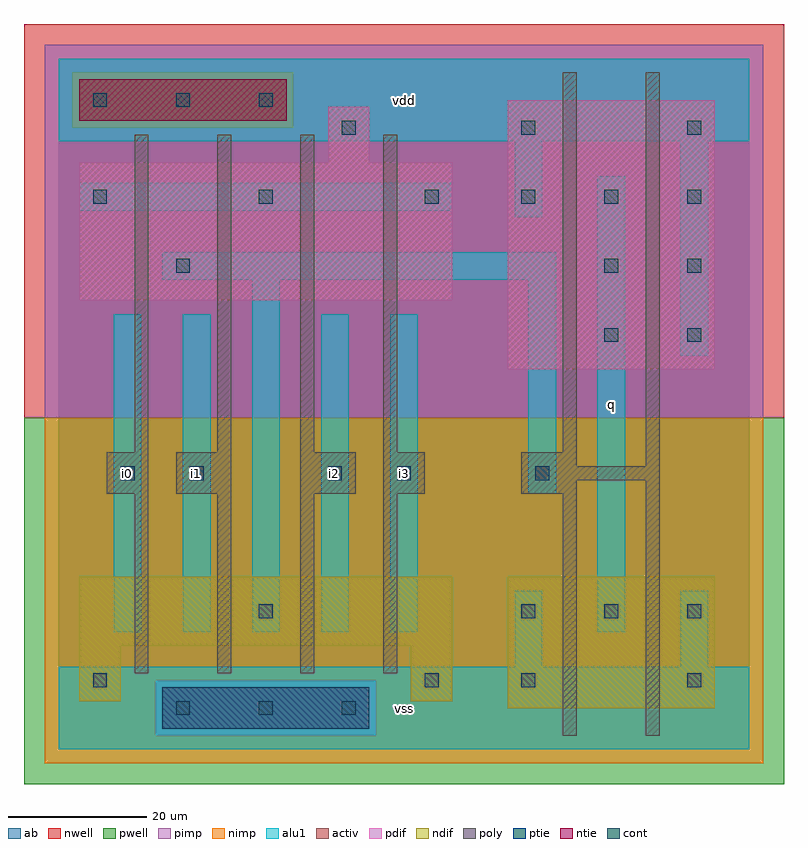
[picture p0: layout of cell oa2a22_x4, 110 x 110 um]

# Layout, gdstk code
import gdstk
lib = gdstk.Library(unit=1e-6, precision=1e-09)
def R(c, l, rs):  # rectangles x0, y0, x1, y1
    for r in rs: c.add(gdstk.rectangle(r[:2], r[2:], *l))
def A(c, l, x, y, w, h, nx, ny, dx, dy):  # array of equal rectangles
    R(c, l, [(x+i*dx, y+j*dy, x+i*dx+w, y+j*dy+h) for i in range(nx) for j in range(ny)])
ndif = (3, 0)
pdif = (4, 0)
ntie = (5, 0)
ptie = (6, 0)
cont = (25, 0)
pwell = (41, 0)
nwell = (42, 0)
activ = (43, 0)
pimp = (44, 0)
nimp = (45, 0)
poly = (46, 0)
alu1 = (49, 0)
ab = (63, 0)

oa2a22_x4 = lib.new_cell('oa2a22_x4')
R(oa2a22_x4, ndif, [(65,6,95,25), (3,7,9,15), (51,7,57,15), (3,15,57,25)])
R(oa2a22_x4, pdif, [(65,55,95,94), (3,65,57,85), (39,85,45,93)])
R(oa2a22_x4, ntie, [(3,91,33,97)])
R(oa2a22_x4, ptie, [(15,3,45,9)])
A(oa2a22_x4, cont, 17, 5, 2, 2, 3, 1, 12, 0)
A(oa2a22_x4, cont, 67, 19, 2, 2, 3, 2, 12, 60)
A(oa2a22_x4, cont, 5, 79, 2, 2, 3, 1, 24, 0)
A(oa2a22_x4, cont, 5, 93, 2, 2, 3, 1, 12, 0)
R(oa2a22_x4, cont, [(5,9,7,11), (53,9,55,11), (67,9,69,11), (91,9,93,11), (29,19,31,21), (9,39,11,41), (19,39,21,41), (39,39,41,41), (49,39,51,41), (69,39,71,41), (79,59,81,61), (91,59,93,61), (17,69,19,71), (79,69,81,71), (91,69,93,71), (41,89,43,91), (67,89,69,91), (91,89,93,91)])
R(oa2a22_x4, pwell, [(-5,-5,105,48)])
R(oa2a22_x4, nwell, [(-5,48,105,105)])
R(oa2a22_x4, activ, [(15,3,45,9), (65,6,95,25), (3,7,9,15), (51,7,57,15), (3,15,57,25), (65,55,95,94), (3,65,57,85), (39,85,45,93), (3,91,33,97)])
R(oa2a22_x4, pimp, [(14,2,46,10), (-2,48,102,90), (-2,90,2,98), (34,90,102,98), (-2,98,102,102)])
R(oa2a22_x4, nimp, [(-2,-2,102,2), (-2,2,14,10), (46,2,102,10), (-2,10,102,48), (2,90,34,98)])
A(oa2a22_x4, poly, 11, 11, 2, 26, 4, 1, 12, 0)
A(oa2a22_x4, poly, 11, 43, 2, 46, 4, 1, 12, 0)
R(oa2a22_x4, poly, [(73,2,75,37), (85,2,87,39), (7,37,13,43), (17,37,25,43), (35,37,43,43), (47,37,53,43), (67,37,75,39), (67,39,87,41), (67,41,75,43), (85,41,87,98), (73,43,75,98)])
R(oa2a22_x4, alu1, [(0,0,100,12), (66,12,70,23), (90,12,94,23), (8,17,12,63), (18,17,22,63), (28,17,32,68), (38,17,42,63), (48,17,52,63), (78,17,82,83), (68,37,72,68), (90,57,94,88), (15,68,72,72), (66,77,70,88), (3,78,57,82), (0,88,100,100)])
R(oa2a22_x4, ab, [(0,0,100,100)])
oa2a22_x4.add(gdstk.Label('i1', (20,40), layer=49, texttype=0))
oa2a22_x4.add(gdstk.Label('i0', (10,40), layer=49, texttype=0))
oa2a22_x4.add(gdstk.Label('i2', (40,40), layer=49, texttype=0))
oa2a22_x4.add(gdstk.Label('vss', (50,6), layer=49, texttype=0))
oa2a22_x4.add(gdstk.Label('i3', (50,40), layer=49, texttype=0))
oa2a22_x4.add(gdstk.Label('vdd', (50,94), layer=49, texttype=0))
oa2a22_x4.add(gdstk.Label('q', (80,50), layer=49, texttype=0))

lib.write_gds('oa2a22_x4.gds')
